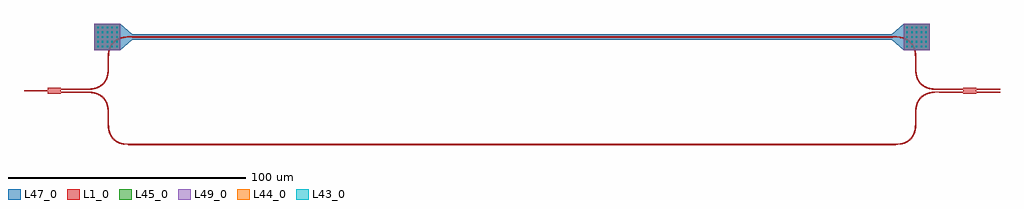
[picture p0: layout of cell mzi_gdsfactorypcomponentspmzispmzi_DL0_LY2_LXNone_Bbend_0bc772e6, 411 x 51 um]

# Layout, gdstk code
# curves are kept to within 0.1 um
from math import pi, radians
import gdstk
lib = gdstk.Library(unit=1e-6, precision=1e-09)
def R(c, l, rs):  # rectangles x0, y0, x1, y1
    for r in rs: c.add(gdstk.rectangle(r[:2], r[2:], *l))
def A(c, l, x, y, w, h, nx, ny, dx, dy):  # array of equal rectangles
    R(c, l, [(x+i*dx, y+j*dy, x+i*dx+w, y+j*dy+h) for i in range(nx) for j in range(ny)])
def P(c, l, *ps):  # polygons
    for p in ps: c.add(gdstk.Polygon(p, *l))
L1_0 = (1, 0)
L43_0 = (43, 0)
L44_0 = (44, 0)
L45_0 = (45, 0)
L47_0 = (47, 0)
L49_0 = (49, 0)

mmi1x2_gdsfactorypcompon = lib.new_cell('mmi1x2_gdsfactorypcomponentspmmispmmi1x2_WNone_WT1_LT10_1f097353')
P(mmi1x2_gdsfactorypcompon, L1_0, [(0,-1.25),(0,-0.5),(-10,-0.25),(-10,0.25),(0,0.5),(0,1.25),(5.5,1.25),(5.5,1.125),(15.5,0.875),(15.5,0.375),(5.5,0.125),(5.5,-0.125),(15.5,-0.375),(15.5,-0.875),(5.5,-1.125),(5.5,-1.25)])

bend_euler_gdsfactorypco = lib.new_cell('bend_euler_gdsfactorypcomponentspbendspbend_euler_RNone_387600b2')
P(bend_euler_gdsfactorypco, L1_0, [(0,-0.25),(0,0.25),(2.881,0.353),(3.952,0.52),(4.99,0.806),(6.431,1.505),(7.575,2.425),(8.495,3.569),(9.194,5.01),(9.48,6.048),(9.647,7.119),(9.75,10),(10.25,10),(10.158,7.205),(9.797,5.254),(9.457,4.312),(9.066,3.545),(8.5,2.715),(7.928,2.072),(7.285,1.5),(6.455,0.934),(5.688,0.543),(4.746,0.203),(2.795,-0.158)])

straight_gdsfactorypcomp = lib.new_cell('straight_gdsfactorypcomponentspwaveguidespstraight_L2_N_815d3d03')
R(straight_gdsfactorypcomp, L1_0, [(0,-0.25,2,0.25)])

straight_heater_metal_un = lib.new_cell('straight_heater_metal_undercut_gdsfactorypcomponentspwa_1bc8609e')
R(straight_heater_metal_un, L1_0, [(0,-0.25,320,0.25)])
A(straight_heater_metal_un, L43_0, -14.75, -4.35, 0.7, 0.7, 5, 5, 2, 2)
A(straight_heater_metal_un, L43_0, 326.05, -4.35, 0.7, 0.7, 5, 5, 2, 2)
A(straight_heater_metal_un, L44_0, -14.75, -4.35, 0.7, 0.7, 5, 5, 2, 2)
A(straight_heater_metal_un, L44_0, 326.05, -4.35, 0.7, 0.7, 5, 5, 2, 2)
R(straight_heater_metal_un, L45_0, [(-15.9,-5.5,-4.9,5.5), (324.9,-5.5,335.9,5.5)])
P(straight_heater_metal_un, L47_0, [(-15.9,-5.5),(-15.9,5.5),(-4.9,5.5),(0.1,1.25),(319.9,1.25),(324.9,5.5),(335.9,5.5),(335.9,-5.5),(324.9,-5.5),(319.9,-1.25),(0.1,-1.25),(-4.9,-5.5)])
R(straight_heater_metal_un, L49_0, [(-15.9,-5.5,-4.9,5.5), (324.9,-5.5,335.9,5.5)])

c_straight_gdsfactorypcomp = lib.new_cell('straight_gdsfactorypcomponentspwaveguidespstraight_L320_4fca7138')
R(c_straight_gdsfactorypcomp, L1_0, [(0,-0.25,320,0.25)])

mmi2x2_gdsfactorypcompon = lib.new_cell('mmi2x2_gdsfactorypcomponentspmmispmmi2x2_WNone_WT1_LT10_d84946bc')
P(mmi2x2_gdsfactorypcompon, L1_0, [(0,-1.25),(0,-1.125),(-10,-0.875),(-10,-0.375),(0,-0.125),(0,0.125),(-10,0.375),(-10,0.875),(0,1.125),(0,1.25),(5.5,1.25),(5.5,1.125),(15.5,0.875),(15.5,0.375),(5.5,0.125),(5.5,-0.125),(15.5,-0.375),(15.5,-0.875),(5.5,-1.125),(5.5,-1.25)])

mzi_gdsfactorypcomponent = lib.new_cell('mzi_gdsfactorypcomponentspmzispmzi_DL0_LY2_LXNone_Bbend_0bc772e6')
mzi_gdsfactorypcomponent.add(gdstk.Reference(mmi1x2_gdsfactorypcompon, (0,0)))
mzi_gdsfactorypcomponent.add(gdstk.Reference(bend_euler_gdsfactorypco, (15.5,-0.625), x_reflection=True))
mzi_gdsfactorypcomponent.add(gdstk.Reference(bend_euler_gdsfactorypco, (25.5,-12.625), rotation=3*pi/2))
mzi_gdsfactorypcomponent.add(gdstk.Reference(bend_euler_gdsfactorypco, (15.5,0.625)))
mzi_gdsfactorypcomponent.add(gdstk.Reference(bend_euler_gdsfactorypco, (35.5,22.625), rotation=pi))
mzi_gdsfactorypcomponent.add(gdstk.Reference(bend_euler_gdsfactorypco, (365.5,12.625), rotation=pi/2))
mzi_gdsfactorypcomponent.add(gdstk.Reference(bend_euler_gdsfactorypco, (365.5,10.625), rotation=3*pi/2))
mzi_gdsfactorypcomponent.add(gdstk.Reference(bend_euler_gdsfactorypco, (355.5,-22.625)))
mzi_gdsfactorypcomponent.add(gdstk.Reference(bend_euler_gdsfactorypco, (375.5,-0.625), rotation=pi))
mzi_gdsfactorypcomponent.add(gdstk.Reference(straight_gdsfactorypcomp, (25.5,10.625), rotation=pi/2))
mzi_gdsfactorypcomponent.add(gdstk.Reference(straight_gdsfactorypcomp, (25.5,-10.625), rotation=3*pi/2))
mzi_gdsfactorypcomponent.add(gdstk.Reference(straight_heater_metal_un, (35.5,22.625)))
mzi_gdsfactorypcomponent.add(gdstk.Reference(c_straight_gdsfactorypcomp, (35.5,-22.625)))
mzi_gdsfactorypcomponent.add(gdstk.Reference(mmi2x2_gdsfactorypcompon, (391,0), rotation=pi, x_reflection=True))
mzi_gdsfactorypcomponent.add(gdstk.Reference(straight_gdsfactorypcomp, (365.5,10.625), rotation=pi/2))
mzi_gdsfactorypcomponent.add(gdstk.Reference(straight_gdsfactorypcomp, (365.5,-12.625), rotation=pi/2))

lib.write_gds('mzi_gdsfactorypcomponentspmzispmzi_DL0_LY2_LXNone_Bbend_0bc772e6.gds')
